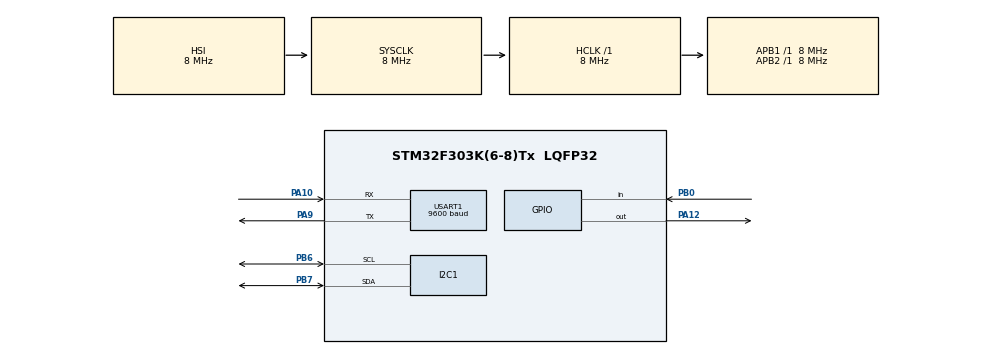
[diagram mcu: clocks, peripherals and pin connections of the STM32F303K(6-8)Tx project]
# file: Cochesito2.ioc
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I2C1.Timing=0x00201D2B
Mcu.Family=STM32F3
Mcu.Name=STM32F303K(6-8)Tx
Mcu.Package=LQFP32
NVIC.I2C1_ER_IRQn=true\:0\:0\:false\:false\:true\:true\:true\:true
NVIC.I2C1_EV_IRQn=true\:0\:0\:false\:false\:true\:true\:true\:true
NVIC.PriorityGroup=NVIC_PRIORITYGROUP_4
NVIC.USART1_IRQn=true\:0\:0\:false\:false\:true\:true\:true\:true
PA10.Mode=Asynchronous
PA10.Signal=USART1_RX
PA12.Signal=GPIO_Output
PA9.Mode=Asynchronous
PA9.Signal=USART1_TX
PB0.Signal=GPIO_Input
PB6.GPIO_Pu=GPIO_PULLUP
PB6.Mode=I2C
PB6.Signal=I2C1_SCL
PB7.GPIO_Pu=GPIO_PULLUP
PB7.Mode=I2C
PB7.Signal=I2C1_SDA
ProjectManager.HeapSize=0x200
ProjectManager.StackSize=0x400
ProjectManager.TargetToolchain=STM32CubeIDE
RCC.AHBFreq_Value=8000000
RCC.APB1Freq_Value=8000000
RCC.APB2Freq_Value=8000000
RCC.CortexFreq_Value=8000000
RCC.HSE_VALUE=8000000
RCC.HSI_VALUE=8000000
RCC.SYSCLKFreq_VALUE=8000000
TIM2.Period=65535
TIM2.Prescaler=7
USART1.BaudRate=9600
USART1.VirtualMode-Asynchronous=VM_ASYNC
VP_TIM2_VS_ClockSourceINT.Mode=Internal
board=custom

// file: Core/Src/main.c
/* USER CODE BEGIN Header */
/**
  ******************************************************************************
  * @file           : main.c
  * @brief          : Main program body
  ******************************************************************************
  * @attention
  *
  * Copyright (c) 2024 STMicroelectronics.
  * All rights reserved.
  *
  * This software is licensed under terms that can be found in the LICENSE file
  * in the root directory of this software component.
  * If no LICENSE file comes with this software, it is provided AS-IS.
  *
  ******************************************************************************
  */
/* USER CODE END Header */
#include "main.h"

/* USER CODE BEGIN Includes */
#include "stdio.h"
#include "string.h"
#include "math.h"
#include "stdlib.h"
/* USER CODE END Includes */

/* USER CODE BEGIN PD */
#define MD22_I2C_ADDRESS (0xB0)
#define TRIGGER_PULSE_DURATION 10
#define MAX_TIMEOUT 20000
#define SPEED_OF_SOUND 343.0f
#define TIME_SCALING_FACTOR 1000.0f
/* USER CODE END PD */

I2C_HandleTypeDef hi2c1;

TIM_HandleTypeDef htim2;

UART_HandleTypeDef huart1;

/* USER CODE BEGIN PV */

volatile int8_t rightSpeed;
volatile int8_t leftSpeed;

volatile uint32_t start_time = 0;
volatile uint32_t end_time = 0;
volatile uint8_t echo_received = 0;

volatile uint8_t uart_rx_buffer[3]; // Buffer para almacenar los datos recibidos
volatile uint8_t uart_rx_buffer_index = 0;
volatile uint8_t validMove = 0;
/* USER CODE END PV */

void SystemClock_Config(void);
static void MX_GPIO_Init(void);
static void MX_TIM2_Init(void);
static void MX_I2C1_Init(void);
static void MX_USART1_UART_Init(void);
/* USER CODE BEGIN PFP */

volatile void debugMsg(char* cadena)
{
  	 HAL_UART_Transmit(&huart1, (uint8_t*) cadena, strlen(cadena), 1000);
}

void MD22_Init(void) {
    uint8_t data[2];

    // Configurar el modo de control en "Modo 0"
    data[0] = 0;  // Registro 0: Modo de control
    data[1] = 0;  // Modo 0: Control directo de velocidades

    if (HAL_I2C_Master_Transmit(&hi2c1, MD22_I2C_ADDRESS, data, 2, 100) != HAL_OK) {
        debugMsg("Error en la transmision I2C\r");
    }else{
    	debugMsg("Transmision I2C correcta\r");
    }
}

volatile void MD22_SetMotors(uint8_t speed_motor1, uint8_t speed_motor2) {
    uint8_t data[3];

    debugMsg("Intentando encender el motor:");
    // Establecer velocidades en los registros 1 y 2
    data[0] = 1;           // Registro 1: Velocidad Motor 1
    data[1] = speed_motor1; // Velocidad Motor 1 (0-255)
    data[2] = speed_motor2; // Velocidad Motor 2 (0-255)

    if (HAL_I2C_Master_Transmit(&hi2c1, MD22_I2C_ADDRESS, data, 3, 100) != HAL_OK) {
        debugMsg("No se pudo encender el motor\r");
    }else{
    	debugMsg("Motores encendidos\r");
    }
}

int measure_distance(void) {
	debugMsg("Midiendo Distancia \r");

    uint32_t elapsed_time;
    float distance;

    // Generar pulso TRIGGER
    debugMsg("Disparando pulso \r");
    HAL_GPIO_WritePin(GPIOA, GPIO_PIN_12, GPIO_PIN_SET);  // TRIGGER ON
    __HAL_TIM_SET_COUNTER(&htim2, 0);
    HAL_TIM_Base_Start(&htim2);
    while (__HAL_TIM_GET_COUNTER(&htim2) < 10);  // Espera 10 µs
    HAL_TIM_Base_Stop(&htim2);
    HAL_GPIO_WritePin(GPIOA, GPIO_PIN_12, GPIO_PIN_RESET);  // TRIGGER OFF

    uint32_t timeout = 20000; // Tiempo máximo de espera en microsegundos
    while (HAL_GPIO_ReadPin(GPIOB, GPIO_PIN_0) == GPIO_PIN_RESET) {
        if (timeout == 0) {
            debugMsg("Timeout: No se recibió pulso ECHO. Distancia máxima asumida (500 mm).\r");
            return 500.0f; // Distancia máxima asumida en metros
        }
        timeout--;
    }

    // Iniciar temporizador TIM2
    __HAL_TIM_SET_COUNTER(&htim2, 0);
    HAL_TIM_Base_Start(&htim2);

    // Esperar a que ECHO se desactive
    while (HAL_GPIO_ReadPin(GPIOB, GPIO_PIN_0) == GPIO_PIN_SET);

    // Detener temporizador y obtener tiempo transcurrido
    HAL_TIM_Base_Stop(&htim2);
    elapsed_time = __HAL_TIM_GET_COUNTER(&htim2);

    // Calcular distancia en metros
    char delta[50];
    sprintf(delta, "Delta: %d segundos\r", (int) elapsed_time);
    debugMsg(delta);

    distance = ((elapsed_time / 1000.0f) * 343) / 2.0f;

    char buffer[50];
    sprintf(buffer, "Distancia medida: %d mm\r", (int) round(distance));
    debugMsg(buffer);

    return (int) round(distance);
}

uint8_t getRightSpeed(uint8_t speed)
{
	if (speed == 0 ) return 127;
	else if (speed > 0 ) return speed + 127;
	else return 127 - speed;
}

uint8_t getLefttSpeed(uint8_t speed)
{
	if (speed == 0 ) return 127;
	else if (speed > 0 ) return 127 - speed;
	else return speed + 127;
}

void retreat_on_obstacle() {
	debugMsg("SE CHOCA!!\r");
	rightSpeed = -127;
	leftSpeed = -127;
	MD22_SetMotors(getRightSpeed(rightSpeed), getLefttSpeed(leftSpeed));
}

void stop()
{
	rightSpeed = 0;
	leftSpeed = 0;
}
/* USER CODE END PFP */

int main(void)
{

  /* MCU Configuration--------------------------------------------------------*/

  /* Reset of all peripherals, Initializes the Flash interface and the Systick. */
  HAL_Init();

  /* Configure the system clock */
  SystemClock_Config();

  /* USER CODE BEGIN SysInit */
  memset(uart_rx_buffer, 0, sizeof(uart_rx_buffer)); // Limpia todo el buffer
  /* USER CODE END SysInit */

  /* Initialize all configured peripherals */
  MX_GPIO_Init();
  MX_TIM2_Init();
  MX_I2C1_Init();
  MX_USART1_UART_Init();
  HAL_UART_Receive_IT(&huart1, &uart_rx_buffer[uart_rx_buffer_index], 1);
  /* USER CODE BEGIN 2 */
  rightSpeed = 0;
  leftSpeed = 0;
  uint8_t PROXIMITYWARNING = 0;
  /* USER CODE END 2 */

  /* Infinite loop */
  /* USER CODE BEGIN WHILE */
  while (1)
  {

	 if ( measure_distance() <  150)
	 {
		 retreat_on_obstacle();
		 PROXIMITYWARNING = 1;
		 continue;
	 }else{
		 if (PROXIMITYWARNING)
		 {
			 stop();
		 }
		 PROXIMITYWARNING = 0;
	 }
	 MD22_SetMotors(getRightSpeed(rightSpeed), getLefttSpeed(leftSpeed));
    /* USER CODE END WHILE */

  }
}

void SystemClock_Config(void)
{
  RCC_OscInitTypeDef RCC_OscInitStruct = {0};
  RCC_ClkInitTypeDef RCC_ClkInitStruct = {0};
  RCC_PeriphCLKInitTypeDef PeriphClkInit = {0};

  /** Initializes the RCC Oscillators according to the specified parameters
  * in the RCC_OscInitTypeDef structure.
  */
  RCC_OscInitStruct.OscillatorType = RCC_OSCILLATORTYPE_HSI;
  RCC_OscInitStruct.HSIState = RCC_HSI_ON;
  RCC_OscInitStruct.HSICalibrationValue = RCC_HSICALIBRATION_DEFAULT;
  RCC_OscInitStruct.PLL.PLLState = RCC_PLL_NONE;
  if (HAL_RCC_OscConfig(&RCC_OscInitStruct) != HAL_OK)
  {
    Error_Handler();
  }

  /** Initializes the CPU, AHB and APB buses clocks
  */
  RCC_ClkInitStruct.ClockType = RCC_CLOCKTYPE_HCLK|RCC_CLOCKTYPE_SYSCLK
                              |RCC_CLOCKTYPE_PCLK1|RCC_CLOCKTYPE_PCLK2;
  RCC_ClkInitStruct.SYSCLKSource = RCC_SYSCLKSOURCE_HSI;
  RCC_ClkInitStruct.AHBCLKDivider = RCC_SYSCLK_DIV1;
  RCC_ClkInitStruct.APB1CLKDivider = RCC_HCLK_DIV1;
  RCC_ClkInitStruct.APB2CLKDivider = RCC_HCLK_DIV1;

  if (HAL_RCC_ClockConfig(&RCC_ClkInitStruct, FLASH_LATENCY_0) != HAL_OK)
  {
    Error_Handler();
  }
  PeriphClkInit.PeriphClockSelection = RCC_PERIPHCLK_USART1|RCC_PERIPHCLK_I2C1;
  PeriphClkInit.Usart1ClockSelection = RCC_USART1CLKSOURCE_PCLK1;
  PeriphClkInit.I2c1ClockSelection = RCC_I2C1CLKSOURCE_HSI;
  if (HAL_RCCEx_PeriphCLKConfig(&PeriphClkInit) != HAL_OK)
  {
    Error_Handler();
  }
}

static void MX_I2C1_Init(void)
{

  hi2c1.Instance = I2C1;
  hi2c1.Init.Timing = 0x00201D2B;
  hi2c1.Init.OwnAddress1 = 0;
  hi2c1.Init.AddressingMode = I2C_ADDRESSINGMODE_7BIT;
  hi2c1.Init.DualAddressMode = I2C_DUALADDRESS_DISABLE;
  hi2c1.Init.OwnAddress2 = 0;
  hi2c1.Init.OwnAddress2Masks = I2C_OA2_NOMASK;
  hi2c1.Init.GeneralCallMode = I2C_GENERALCALL_DISABLE;
  hi2c1.Init.NoStretchMode = I2C_NOSTRETCH_DISABLE;
  if (HAL_I2C_Init(&hi2c1) != HAL_OK)
  {
    Error_Handler();
  }

  /** Configure Analogue filter
  */
  if (HAL_I2CEx_ConfigAnalogFilter(&hi2c1, I2C_ANALOGFILTER_ENABLE) != HAL_OK)
  {
    Error_Handler();
  }

  /** Configure Digital filter
  */
  if (HAL_I2CEx_ConfigDigitalFilter(&hi2c1, 0) != HAL_OK)
  {
    Error_Handler();
  }

}

static void MX_TIM2_Init(void)
{

  TIM_ClockConfigTypeDef sClockSourceConfig = {0};
  TIM_MasterConfigTypeDef sMasterConfig = {0};

  htim2.Instance = TIM2;
  htim2.Init.Prescaler = 7;
  htim2.Init.CounterMode = TIM_COUNTERMODE_UP;
  htim2.Init.Period = 65535;
  htim2.Init.ClockDivision = TIM_CLOCKDIVISION_DIV1;
  htim2.Init.AutoReloadPreload = TIM_AUTORELOAD_PRELOAD_DISABLE;
  if (HAL_TIM_Base_Init(&htim2) != HAL_OK)
  {
    Error_Handler();
  }
  sClockSourceConfig.ClockSource = TIM_CLOCKSOURCE_INTERNAL;
  if (HAL_TIM_ConfigClockSource(&htim2, &sClockSourceConfig) != HAL_OK)
  {
    Error_Handler();
  }
  sMasterConfig.MasterOutputTrigger = TIM_TRGO_RESET;
  sMasterConfig.MasterSlaveMode = TIM_MASTERSLAVEMODE_DISABLE;
  if (HAL_TIMEx_MasterConfigSynchronization(&htim2, &sMasterConfig) != HAL_OK)
  {
    Error_Handler();
  }

}

static void MX_USART1_UART_Init(void)
{

  huart1.Instance = USART1;
  huart1.Init.BaudRate = 9600;
  huart1.Init.WordLength = UART_WORDLENGTH_8B;
  huart1.Init.StopBits = UART_STOPBITS_1;
  huart1.Init.Parity = UART_PARITY_NONE;
  huart1.Init.Mode = UART_MODE_TX_RX;
  huart1.Init.HwFlowCtl = UART_HWCONTROL_NONE;
  huart1.Init.OverSampling = UART_OVERSAMPLING_16;
  huart1.Init.OneBitSampling = UART_ONE_BIT_SAMPLE_DISABLE;
  huart1.AdvancedInit.AdvFeatureInit = UART_ADVFEATURE_NO_INIT;
  if (HAL_UART_Init(&huart1) != HAL_OK)
  {
    Error_Handler();
  }

}

static void MX_GPIO_Init(void)
{
  GPIO_InitTypeDef GPIO_InitStruct = {0};

  /* GPIO Ports Clock Enable */
  __HAL_RCC_GPIOB_CLK_ENABLE();
  __HAL_RCC_GPIOA_CLK_ENABLE();

  /*Configure GPIO pin Output Level */
  HAL_GPIO_WritePin(GPIOA, GPIO_PIN_12, GPIO_PIN_RESET);

  /*Configure GPIO pin : PB0 */
  GPIO_InitStruct.Pin = GPIO_PIN_0;
  GPIO_InitStruct.Mode = GPIO_MODE_INPUT;
  GPIO_InitStruct.Pull = GPIO_NOPULL;
  HAL_GPIO_Init(GPIOB, &GPIO_InitStruct);

  /*Configure GPIO pin : PA12 */
  GPIO_InitStruct.Pin = GPIO_PIN_12;
  GPIO_InitStruct.Mode = GPIO_MODE_OUTPUT_PP;
  GPIO_InitStruct.Pull = GPIO_NOPULL;
  GPIO_InitStruct.Speed = GPIO_SPEED_FREQ_LOW;
  HAL_GPIO_Init(GPIOA, &GPIO_InitStruct);

}

void Error_Handler(void)
{
  __disable_irq();
  while (1)
  {
  }
}
